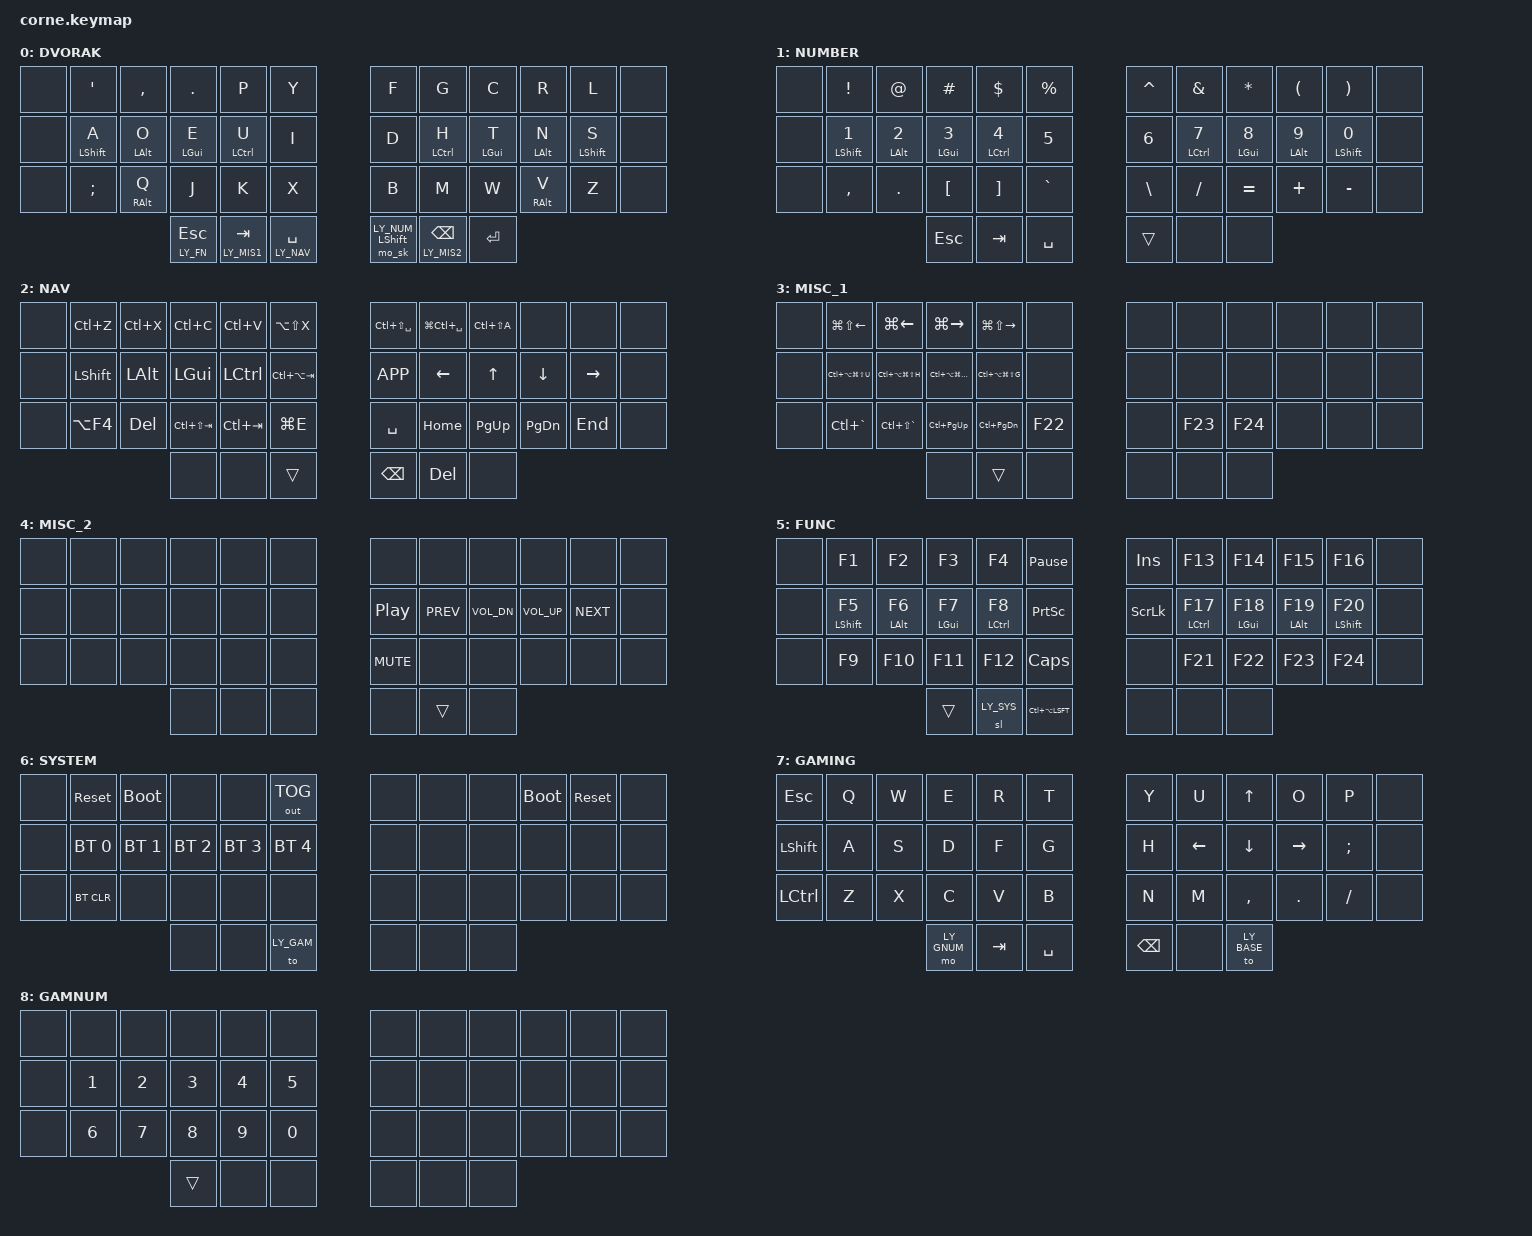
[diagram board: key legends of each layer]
#include <behaviors.dtsi>
#include <dt-bindings/zmk/bt.h>
#include <dt-bindings/zmk/keys.h>
#include <dt-bindings/zmk/pointing.h>
#include <dt-bindings/zmk/outputs.h>

// Urob's helpers. Needed for ZMK_LAYER(), ZMK_HOLD_TAP(), ZMK_TAP_DANCE().
#include "zmk-helpers/helper.h"

// User-friendly definitions for key positions
#include "zmk-helpers/key-labels/42.h"
#define KEYS_L LT0 LT1 LT2 LT3 LT4 LT5 LM0 LM1 LM2 LM3 LM4 LM5 LB0 LB1 LB2 LB3 LB4 LB5 // left-hand keys
#define KEYS_R RT0 RT1 RT2 RT3 RT4 RT5 RM0 RM1 RM2 RM3 RM4 RM5 RB0 RB1 RB2 RB3 RB4 RB5 // right-hand keys
#define THUMBS LH2 LH1 LH0 RH0 RH1 RH2                                                 // thumb keys

// Desktop and tab navigation shortcuts
#define PRV_VD  LC(LG(LEFT))
#define NXT_VD  LC(LG(RIGHT))
#define PRV_TAB LC(LS(TAB))
#define NXT_TAB LC(TAB)
#define GS_LFT  LG(LS(LEFT))
#define GS_RGT  LG(LS(RIGHT))
#define G_LFT   LG(LEFT)
#define G_RGT   LG(RIGHT)
#define CA_TAB  LC(LA(TAB))
#define CA_LSFT LC(LA(LSFT))
#define PS_BRK  PAUSE_BREAK // Just for brevity

// Application shortcuts
#define GIT_GRAPH LC(LA(LG(LS(G))))
#define FOLD_UP   LC(LA(LG(LS(U))))
#define FILE_HIST LC(LA(LG(LS(H))))
#define GH_PERMA  LC(LA(LG(LS(M))))
#define TERM      LC(GRAVE)
#define NEW_TERM  LC(LS(GRAVE))
#define PRV_TERM  LC(PG_UP)
#define NXT_TERM  LC(PG_DN)
#define OPSWD_BRW LA(LS(X))
#define OPSWD_WIN LC(LS(SPACE))
#define PTOYS_RUN LG(LC(SPACE))

// Layers
#define LY_BASE 0
#define LY_NUM  1
#define LY_NAV  2
#define LY_MIS1 3
#define LY_MIS2 4
#define LY_FN   5
#define LY_SYS  6
#define LY_GAM  7
#define LY_GNUM 8

// Configuration for sticky-key behavior
&sk {
  release-after-ms = <500>;
  quick-release;
};

// Configuration for home-row mods
#define QUICK_TAP_MS 100
#define REQUIRE_PRIOR_IDLE_MS 100
#define TAP_TERM_MS 200

/* Behaviors */

// Homerow mod for left hand
ZMK_HOLD_TAP(hml,
  flavor = "tap-preferred";
  bindings = <&kp>, <&kp>;
  tapping-term-ms = <TAP_TERM_MS>;
  quick-tap-ms = <QUICK_TAP_MS>;
  require-prior-idle-ms = <REQUIRE_PRIOR_IDLE_MS>;
  hold-trigger-on-release;
  hold-trigger-key-positions = <KEYS_R THUMBS>;
)

// Homerow mod for right hand
ZMK_HOLD_TAP(hmr,
  flavor = "tap-preferred";
  bindings = <&kp>, <&kp>;
  tapping-term-ms = <TAP_TERM_MS>;
  quick-tap-ms = <QUICK_TAP_MS>;
  require-prior-idle-ms = <REQUIRE_PRIOR_IDLE_MS>;
  hold-trigger-on-release;
  hold-trigger-key-positions = <KEYS_L THUMBS>;
)

// Momentary layer or sticky key, for right thumb
ZMK_HOLD_TAP(mo_sk,
  flavor = "tap-preferred";
  bindings = <&mo>, <&sk>;
  tapping-term-ms = <TAP_TERM_MS>;
)

// Gaming layer access
ZMK_TAP_DANCE(td_layers,
  tapping-term-ms = <200>;
  bindings = <&to LY_BASE>, <&to LY_GAM>;
)

/ {
  macros {
//     ZMK_MACRO(term,
//       wait-ms = <20>;
//       tap-ms = <20>;
//       bindings = <&macro_press &kp LCTRL>
//                , <&macro_tap &kp GRAVE>
//                , <&macro_release &kp LCTRL>;
//     )
    };
};

// ¯\_(ツ)_/¯

// Thumb keys for base layer
#define THUMB1 &lt LY_FN ESC
#define THUMB2 &lt LY_MIS1 TAB
#define THUMB3 &lt LY_NAV SPACE
#define THUMB4 &mo_sk LY_NUM LSHFT
#define THUMB5 &lt LY_MIS2 BSPC
#define THUMB6 &kp ENTER

/* COMBO_TERM is internally used by ZMK_COMBO and defaults to 30 if not defined */
#define COMBO_TERM 50
ZMK_COMBO(caps_word, &caps_word, LH0 RH0) // Caps word on main thumb keys

/* Keymap */

ZMK_LAYER(DVORAK,
  // ╭─────────────┬─────────────┬─────────────┬─────────────┬─────────────┬─────────────╮ ╭─────────────┬─────────────┬─────────────┬─────────────┬─────────────┬─────────────╮
  // ├             ┼      '      ┼      ,      ┼      .      ┼      P      ┼      Y      ┤ ├      F      ┼      G      ┼      C      ┼      R      ┼      L      ┼             ┤
  // ├─────────────┼─────────────┼─────────────┼─────────────┼─────────────┼─────────────┤ ├─────────────┼─────────────┼─────────────┼─────────────┼─────────────┼─────────────┤
  // ├             ┼  LSHFT / A  ┼  LALT / O   ┼  LGUI / E   ┼  LCTRL / U  ┼      I      ┤ ├      D      ┼  LCTRL / H  ┼  LGUI / T   ┼  LALT / N   ┼  LSHFT / S  ┼             ┤
  // ├─────────────┼─────────────┼─────────────┼─────────────┼─────────────┼─────────────┤ ├─────────────┼─────────────┼─────────────┼─────────────┼─────────────┼─────────────┤
  // ├             ┼      ;      ┼  RALT / Q   ┼      J      ┼      K      ┼      X      ┤ ├      B      ┼      M      ┼      W      ┼  RALT / V   ┼      Z      ┼             ┤
  // ╰───────────────────────────┴─────────────┼─────────────┼─────────────┼─────────────┤ ├─────────────┼─────────────┼─────────────┼─────────────┴───────────────────────────╯
  //                                           ├ ESC / LY_FN ┼ TAB / LY_MS1┼ SPC / LY_NAV┤ ├ SS / LY_NUM ┼BKSP / LY_MS2┼    ENTER    ┤
  //                                           ╰─────────────┴─────────────┴─────────────╯ ╰─────────────┴─────────────┴─────────────╯
      &none         &kp SQT       &kp COMMA     &kp DOT       &kp P         &kp Y           &kp F         &kp G         &kp C         &kp R         &kp L         &none
      &none         &hml LSHFT A  &hml LALT O   &hml LGUI E   &hml LCTRL U  &kp I           &kp D         &hmr LCTRL H  &hmr LGUI T   &hmr LALT N   &hmr LSHFT S  &none
      &none         &kp SEMI      &hml RALT Q   &kp J         &kp K         &kp X           &kp B         &kp M         &kp W         &hmr RALT V   &kp Z         &none
                                                THUMB1        THUMB2        THUMB3          THUMB4        THUMB5        THUMB6
)

ZMK_LAYER(NUMBER,
  // ╭─────────────┬─────────────┬─────────────┬─────────────┬─────────────┬─────────────╮ ╭─────────────┬─────────────┬─────────────┬─────────────┬─────────────┬─────────────╮
  // ├             ┼      !      ┼      @      ┼      #      ┼      $      ┼      %      ┤ ├      ^      ┼      &      ┼      *      ┼      (      ┼      )      ┼             ┤
  // ├─────────────┼─────────────┼─────────────┼─────────────┼─────────────┼─────────────┤ ├─────────────┼─────────────┼─────────────┼─────────────┼─────────────┼─────────────┤
  // ├             ┼  LSHFT / 1  ┼  LALT / 2   ┼  LGUI / 3   ┼  LCTRL / 4  ┼      5      ┤ ├      6      ┼  LCTRL / 7  ┼  LGUI / 8   ┼  LALT / 9   ┼  LSHFT / 0  ┼             ┤
  // ├─────────────┼─────────────┼─────────────┼─────────────┼─────────────┼─────────────┤ ├─────────────┼─────────────┼─────────────┼─────────────┼─────────────┼─────────────┤
  // ├             ┼      ,      ┼      .      ┼      [      ┼      ]      ┼      `      ┤ ├      \      ┼      /      ┼      =      ┼      +      ┼      -      ┼             ┤
  // ╰───────────────────────────┴─────────────┼─────────────┼─────────────┼─────────────┤ ├─────────────┼─────────────┼─────────────┼─────────────┴───────────────────────────╯
  //                                           ├     ESC     ┼     TAB     ┼    SPACE    ┤ ├ // HELD //  ┼             ┼             ┤
  //                                           ╰─────────────┴─────────────┴─────────────╯ ╰─────────────┴─────────────┴─────────────╯
      &none         &kp EXCL      &kp AT        &kp HASH      &kp DOLLAR    &kp PERCENT     &kp CARET     &kp AMPS      &kp ASTRK     &kp LPAR      &kp RPAR       &none
      &none         &hml LSHFT N1 &hml LALT N2  &hml LGUI N3  &hml LCTRL N4 &kp N5          &kp N6        &hmr LCTRL N7 &hmr LGUI N8  &hmr LALT N9  &hmr LSHFT N0  &none
      &none         &kp COMMA     &kp DOT       &kp LBKT      &kp RBKT      &kp GRAVE       &kp BSLH      &kp FSLH      &kp EQUAL     &kp PLUS      &kp MINUS      &none
                                                &kp ESC       &kp TAB       &kp SPACE       &trans        &none         &none
)

ZMK_LAYER(NAV,
  // ╭─────────────┬─────────────┬─────────────┬─────────────┬─────────────┬─────────────╮ ╭─────────────┬─────────────┬─────────────┬─────────────┬─────────────┬─────────────╮
  // ├             ┼    Undo     ┼     Cut     ┼    Copy     ┼    Paste    ┼  1Pswd Brw  ┤ ├  1Pswd Win  ┼ PwrToys Run ┼  Tab search ┼             ┼             ┼             ┤
  // ├─────────────┼─────────────┼─────────────┼─────────────┼─────────────┼─────────────┤ ├─────────────┼─────────────┼─────────────┼─────────────┼─────────────┼─────────────┤
  // ├             ┼    LSHFT    ┼     LALT    ┼    LGUI     ┼    LCTRL    ┼ CTRL ALT TAB┤ ├ CONTEXT MENU┼    LEFT     ┼     UP      ┼     DOWN    ┼    RIGHT    ┼             ┤
  // ├─────────────┼─────────────┼─────────────┼─────────────┼─────────────┼─────────────┤ ├─────────────┼─────────────┼─────────────┼─────────────┼─────────────┼─────────────┤
  // ├             ┼  Alt + F4   ┼     DEL     ┼  PREV TAB   ┼  NEXT TAB   ┼ Win Explorer┤ ├     SPC     ┼    HOME     ┼   PAGE UP   ┼  PAGE DOWN  ┼     END     ┼             ┤
  // ╰───────────────────────────┴─────────────┼─────────────┼─────────────┼─────────────┤ ├─────────────┼─────────────┼─────────────┼─────────────┴───────────────────────────╯
  //                                           ├             ┼             ┼ // HELD //  ┤ ├     BKSP    ┼     DEL     ┼             ┤
  //                                           ╰─────────────┴─────────────┴─────────────╯ ╰─────────────┴─────────────┴─────────────╯
      &none         &kp LC(Z)     &kp LC(X)     &kp LC(C)     &kp LC(V)     &kp OPSWD_BRW   &kp OPSWD_WIN &kp PTOYS_RUN &kp LC(LS(A)) &none         &none         &none
      &none         &kp LSHFT     &kp LALT      &kp LGUI      &kp LCTRL     &kp CA_TAB      &kp K_APP     &kp LEFT      &kp UP        &kp DOWN      &kp RIGHT     &none
      &none         &kp LA(F4)    &kp DEL       &kp PRV_TAB   &kp NXT_TAB   &kp LG(E)       &kp SPACE     &kp HOME      &kp PG_UP     &kp PG_DN     &kp END       &none
                                                &none         &none         &trans          &kp BSPC      &kp DEL       &none
)

ZMK_LAYER(MISC_1,
  // ╭─────────────┬─────────────┬─────────────┬─────────────┬─────────────┬─────────────╮ ╭─────────────┬─────────────┬─────────────┬─────────────┬─────────────┬─────────────╮
  // ├             ┼ WIN PRV MON ┼ SNP WIN LFT ┼ SNP WIN RGT ┼ WIN NXT MON ┼             ┤ ├             ┼             ┼             ┼             ┼             ┼             ┤
  // ├─────────────┼─────────────┼─────────────┼─────────────┼─────────────┼─────────────┤ ├─────────────┼─────────────┼─────────────┼─────────────┼─────────────┼─────────────┤
  // ├             ┼ Next Fold Up┼  File Hist  ┼ GH Permalink┼  Git Graph  ┼             ┤ ├             ┼             ┼             ┼             ┼             ┼             ┤
  // ├─────────────┼─────────────┼─────────────┼─────────────┼─────────────┼─────────────┤ ├─────────────┼─────────────┼─────────────┼─────────────┼─────────────┼─────────────┤
  // ├             ┼  Terminal   ┼  New Term   ┼  Prev Term  ┼  Next Term  ┼ ToggleFocus ┤ ├             ┼ Trm Height+ ┼ Trm Height- ┼             ┼             ┼             ┤
  // ╰───────────────────────────┴─────────────┼─────────────┼─────────────┼─────────────┤ ├─────────────┼─────────────┼─────────────┼─────────────┴───────────────────────────╯
  //                                           ├             ┼ // HELD //  ┼             ┤ ├             ┼             ┼             ┤
  //                                           ╰─────────────┴─────────────┴─────────────╯ ╰─────────────┴─────────────┴─────────────╯
      &none         &kp GS_LFT    &kp G_LFT     &kp G_RGT     &kp GS_RGT    &none           &none         &none         &none         &none         &none         &none
      &none         &kp FOLD_UP   &kp FILE_HIST &kp GH_PERMA  &kp GIT_GRAPH &none           &none         &none         &none         &none         &none         &none
      &none         &kp TERM      &kp NEW_TERM  &kp PRV_TERM  &kp NXT_TERM  &kp F22         &none         &kp F23       &kp F24       &none         &none         &none
                                                &none         &trans        &none           &none         &none         &none
)

ZMK_LAYER(MISC_2,
  // ╭─────────────┬─────────────┬─────────────┬─────────────┬─────────────┬─────────────╮ ╭─────────────┬─────────────┬─────────────┬─────────────┬─────────────┬─────────────╮
  // ├             ┼             ┼             ┼             ┼             ┼             ┤ ├             ┼             ┼             ┼             ┼             ┼             ┤
  // ├─────────────┼─────────────┼─────────────┼─────────────┼─────────────┼─────────────┤ ├─────────────┼─────────────┼─────────────┼─────────────┼─────────────┼─────────────┤
  // ├             ┼             ┼             ┼             ┼             ┼             ┤ ├ Play/Pause  ┼ Media Prev  ┼  Vol Down   ┼   Vol Up    ┼ Media Next  ┼             ┤
  // ├─────────────┼─────────────┼─────────────┼─────────────┼─────────────┼─────────────┤ ├─────────────┼─────────────┼─────────────┼─────────────┼─────────────┼─────────────┤
  // ├             ┼             ┼             ┼             ┼             ┼             ┤ ├    Mute     ┼             ┼             ┼             ┼             ┼             ┤
  // ╰───────────────────────────┴─────────────┼─────────────┼─────────────┼─────────────┤ ├─────────────┼─────────────┼─────────────┼─────────────┴───────────────────────────╯
  //                                           ├             ┼             ┼             ┤ ├             ┼ // HELD //  ┼             ┤
  //                                           ╰─────────────┴─────────────┴─────────────╯ ╰─────────────┴─────────────┴─────────────╯
      &none         &none         &none         &none         &none         &none           &none         &none         &none         &none         &none         &none
      &none         &none         &none         &none         &none         &none           &kp C_PP      &kp C_PREV    &kp C_VOL_DN  &kp C_VOL_UP  &kp C_NEXT    &none
      &none         &none         &none         &none         &none         &none           &kp C_MUTE    &none         &none         &none         &none         &none
                                                &none         &none         &none           &none         &trans        &none
)

ZMK_LAYER(FUNC,
  // ╭─────────────┬─────────────┬─────────────┬─────────────┬─────────────┬─────────────╮ ╭─────────────┬─────────────┬─────────────┬─────────────┬─────────────┬─────────────╮
  // ├             ┼     F1      ┼     F2      ┼     F3      ┼     F4      ┼  Pause/Brk  ┤ ├   INSERT    ┼     F13     ┼     F14     ┼     F15     ┼     F16     ┼             ┤
  // ├─────────────┼─────────────┼─────────────┼─────────────┼─────────────┼─────────────┤ ├─────────────┼─────────────┼─────────────┼─────────────┼─────────────┼─────────────┤
  // ├             ┼  LSHFT / F5 ┼  LALT / F6  ┼  LGUI / F7  ┼ LCTRL / F8  ┼ PrintScreen ┤ ├ Scroll Lock ┼ LCTRL / F17 ┼  LGUI / F18 ┼  LALT / F19 ┼ LSHFT / F20 ┼             ┤
  // ├─────────────┼─────────────┼─────────────┼─────────────┼─────────────┼─────────────┤ ├─────────────┼─────────────┼─────────────┼─────────────┼─────────────┼─────────────┤
  // ├             ┼     F9      ┼     F10     ┼     F11     ┼     F12     ┼  CAPS LOCK  ┤ ├             ┼     F21     ┼     F22     ┼     F23     ┼     F24     ┼             ┤
  // ╰───────────────────────────┴─────────────┼─────────────┼─────────────┼─────────────┤ ├─────────────┼─────────────┼─────────────┼─────────────┴───────────────────────────╯
  //                                           ├ // HELD //  ┼ System Layer┼ Discord PTT ┤ ├             ┼             ┼             ┤
  //                                           ╰─────────────┴─────────────┴─────────────╯ ╰─────────────┴─────────────┴─────────────╯
      &none         &kp F1        &kp F2        &kp F3        &kp F4        &kp PS_BRK      &kp INSERT    &kp F13        &kp F14       &kp F15       &kp F16       &none
      &none         &hml LSHFT F5 &hml LALT F6  &hml LGUI F7  &hml LCTRL F8 &kp PSCRN       &kp SLCK      &hmr LCTRL F17 &hmr LGUI F18 &hmr LALT F19 &hmr LSHFT F20 &none
      &none         &kp F9        &kp F10       &kp F11       &kp F12       &kp CAPS        &none         &kp F21        &kp F22       &kp F23       &kp F24       &none
                                                &trans        &sl LY_SYS    &kp CA_LSFT     &none         &none          &none
)

ZMK_LAYER(SYSTEM,
  // NOTE: &sys_reset and &bootloader need to be directly bound to a key for locality (correct half affected) to work, see https://github.com/zmkfirmware/zmk/issues/1494
  // ╭─────────────┬─────────────┬─────────────┬─────────────┬─────────────┬─────────────╮ ╭─────────────┬─────────────┬─────────────┬─────────────┬─────────────┬─────────────╮
  // ├             ┼    Reset    ┼ Bootloader  ┼             ┼             ┼ Out Toggle  ┤ ├             ┼             ┼             ┼ Bootloader  ┼    Reset    ┼             ┤
  // ├─────────────┼─────────────┼─────────────┼─────────────┼─────────────┼─────────────┤ ├─────────────┼─────────────┼─────────────┼─────────────┼─────────────┼─────────────┤
  // ├             ┼ BT prof 1   ┼ BT prof 2   ┼ BT prof 3   ┼ BT prof 4   ┼ BT prof 5   ┤ ├             ┼             ┼             ┼             ┼             ┼             ┤
  // ├─────────────┼─────────────┼─────────────┼─────────────┼─────────────┼─────────────┤ ├─────────────┼─────────────┼─────────────┼─────────────┼─────────────┼─────────────┤
  // ├             ┼ Clr BT prof ┼             ┼             ┼             ┼             ┤ ├             ┼             ┼             ┼             ┼             ┼             ┤
  // ╰───────────────────────────┴─────────────┼─────────────┼─────────────┼─────────────┤ ├─────────────┼─────────────┼─────────────┼─────────────┴───────────────────────────╯
  //                                           ├             ┼             ┼ GAME LAYER  ┤ ├             ┼             ┼             ┤
  //                                           ╰─────────────┴─────────────┴─────────────╯ ╰─────────────┴─────────────┴─────────────╯
      &none         &sys_reset    &bootloader   &none         &none         &out OUT_TOG    &none         &none         &none         &bootloader   &sys_reset    &none
      &none         &bt BT_SEL 0  &bt BT_SEL 1  &bt BT_SEL 2  &bt BT_SEL 3  &bt BT_SEL 4    &none         &none         &none         &none         &none         &none
      &none         &bt BT_CLR    &none         &none         &none         &none           &none         &none         &none         &none         &none         &none
                                                &none         &none         &to LY_GAM      &none         &none         &none
)

ZMK_LAYER(GAMING,
  // ╭─────────────┬─────────────┬─────────────┬─────────────┬─────────────┬─────────────╮ ╭─────────────┬─────────────┬─────────────┬─────────────┬─────────────┬─────────────╮
  // ├     ESC     ┼      Q      ┼      W      ┼      E      ┼      R      ┼      T      ┤ ├      Y      ┼      U      ┼     Up      ┼      O      ┼      P      ┼             ┤
  // ├─────────────┼─────────────┼─────────────┼─────────────┼─────────────┼─────────────┤ ├─────────────┼─────────────┼─────────────┼─────────────┼─────────────┼─────────────┤
  // ├    LSHFT    ┼      A      ┼      S      ┼      D      ┼      F      ┼      G      ┤ ├      H      ┼     Left    ┼    Down     ┼    Right    ┼      ;      ┼             ┤
  // ├─────────────┼─────────────┼─────────────┼─────────────┼─────────────┼─────────────┤ ├─────────────┼─────────────┼─────────────┼─────────────┼─────────────┼─────────────┤
  // ├    LCTRL    ┼      Z      ┼      X      ┼      C      ┼      V      ┼      B      ┤ ├      N      ┼      M      ┼      ,      ┼      .      ┼      /      ┼             ┤
  // ╰───────────────────────────┴─────────────┼─────────────┼─────────────┼─────────────┤ ├─────────────┼─────────────┼─────────────┼─────────────┴───────────────────────────╯
  //                                           ├  Num Layer  ┼     TAB     ┼    SPACE    ┤ ├    BKSP     ┼             ┼ BACK TO L0  ┤
  //                                           ╰─────────────┴─────────────┴─────────────╯ ╰─────────────┴─────────────┴─────────────╯
      &kp ESC       &kp Q         &kp W         &kp E         &kp R         &kp T           &kp Y         &kp U         &kp UP        &kp O         &kp P         &none
      &kp LSHFT     &kp A         &kp S         &kp D         &kp F         &kp G           &kp H         &kp LEFT      &kp DOWN      &kp RIGHT     &kp SEMI      &none
      &kp LCTRL     &kp Z         &kp X         &kp C         &kp V         &kp B           &kp N         &kp M         &kp COMMA     &kp DOT       &kp FSLH      &none
                                                &mo LY_GNUM   &kp TAB       &kp SPACE       &kp BSPC      &none         &to LY_BASE
)

ZMK_LAYER(GAMNUM,
  // ╭─────────────┬─────────────┬─────────────┬─────────────┬─────────────┬─────────────╮ ╭─────────────┬─────────────┬─────────────┬─────────────┬─────────────┬─────────────╮
  // ├             ┼             ┼             ┼             ┼             ┼             ┤ ├             ┼             ┼             ┼             ┼             ┼             ┤
  // ├─────────────┼─────────────┼─────────────┼─────────────┼─────────────┼─────────────┤ ├─────────────┼─────────────┼─────────────┼─────────────┼─────────────┼─────────────┤
  // ├             ┼      1      ┼      2      ┼      3      ┼      4      ┼      5      ┤ ├             ┼             ┼             ┼             ┼             ┼             ┤
  // ├─────────────┼─────────────┼─────────────┼─────────────┼─────────────┼─────────────┤ ├─────────────┼─────────────┼─────────────┼─────────────┼─────────────┼─────────────┤
  // ├             ┼      6      ┼      7      ┼      8      ┼      9      ┼      0      ┤ ├             ┼             ┼             ┼             ┼             ┼             ┤
  // ╰───────────────────────────┴─────────────┼─────────────┼─────────────┼─────────────┤ ├─────────────┼─────────────┼─────────────┼─────────────┴───────────────────────────╯
  //                                           ├  // HELD // ┼             ┼             ┤ ├             ┼             ┼             ┤
  //                                           ╰─────────────┴─────────────┴─────────────╯ ╰─────────────┴─────────────┴─────────────╯
      &none         &none          &none          &none        &none         &none           &none         &none         &none         &none          &none          &none
      &none         &kp N1         &kp N2         &kp N3       &kp N4        &kp N5          &none         &none         &none         &none          &none          &none
      &none         &kp N6         &kp N7         &kp N8       &kp N9        &kp N0          &none         &none         &none         &none          &none          &none
                                                  &trans       &none         &none           &none         &none         &none
)

// ZMK_LAYER(TEMPLATE,
//   // ╭─────────────┬─────────────┬─────────────┬─────────────┬─────────────┬─────────────╮ ╭─────────────┬─────────────┬─────────────┬─────────────┬─────────────┬─────────────╮
//   // ├             ┼             ┼             ┼             ┼             ┼             ┤ ├             ┼             ┼             ┼             ┼             ┼             ┤
//   // ├─────────────┼─────────────┼─────────────┼─────────────┼─────────────┼─────────────┤ ├─────────────┼─────────────┼─────────────┼─────────────┼─────────────┼─────────────┤
//   // ├             ┼             ┼             ┼             ┼             ┼             ┤ ├             ┼             ┼             ┼             ┼             ┼             ┤
//   // ├─────────────┼─────────────┼─────────────┼─────────────┼─────────────┼─────────────┤ ├─────────────┼─────────────┼─────────────┼─────────────┼─────────────┼─────────────┤
//   // ├             ┼             ┼             ┼             ┼             ┼             ┤ ├             ┼             ┼             ┼             ┼             ┼             ┤
//   // ╰───────────────────────────┴─────────────┼─────────────┼─────────────┼─────────────┤ ├─────────────┼─────────────┼─────────────┼─────────────┴───────────────────────────╯
//   //                                           ├             ┼             ┼             ┤ ├             ┼             ┼             ┤
//   //                                           ╰─────────────┴─────────────┴─────────────╯ ╰─────────────┴─────────────┴─────────────╯
//       &none         &none         &none         &none         &none         &none           &none         &none         &none         &none         &none         &none
//       &none         &none         &none         &none         &none         &none           &none         &none         &none         &none         &none         &none
//       &none         &none         &none         &none         &none         &none           &none         &none         &none         &none         &none         &none
//                                                 &none         &none         &none           &none         &none         &none
// )
